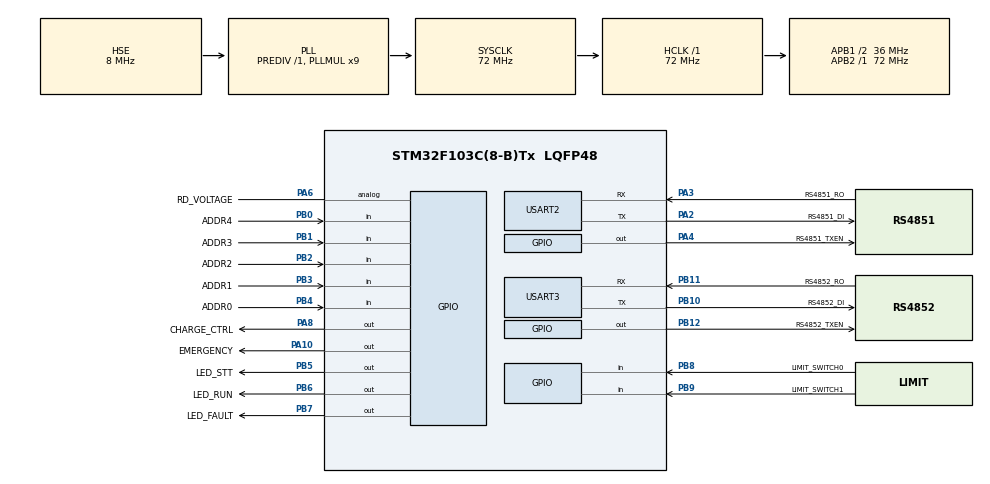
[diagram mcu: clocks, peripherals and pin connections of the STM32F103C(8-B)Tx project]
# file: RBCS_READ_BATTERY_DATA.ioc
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Dma.Request0=USART2_RX
Dma.Request1=USART3_RX
Dma.Request2=USART2_TX
Dma.Request3=USART3_TX
Dma.USART2_RX.0.Direction=DMA_PERIPH_TO_MEMORY
Dma.USART2_RX.0.Instance=DMA1_Channel6
Dma.USART2_RX.0.MemDataAlignment=DMA_MDATAALIGN_BYTE
Dma.USART2_RX.0.MemInc=DMA_MINC_ENABLE
Dma.USART2_RX.0.Mode=DMA_NORMAL
Dma.USART2_RX.0.PeriphDataAlignment=DMA_PDATAALIGN_BYTE
Dma.USART2_RX.0.PeriphInc=DMA_PINC_DISABLE
Dma.USART2_RX.0.Priority=DMA_PRIORITY_LOW
Dma.USART2_TX.2.Direction=DMA_MEMORY_TO_PERIPH
Dma.USART2_TX.2.Instance=DMA1_Channel7
Dma.USART2_TX.2.MemDataAlignment=DMA_MDATAALIGN_BYTE
Dma.USART2_TX.2.MemInc=DMA_MINC_ENABLE
Dma.USART2_TX.2.Mode=DMA_NORMAL
Dma.USART2_TX.2.PeriphDataAlignment=DMA_PDATAALIGN_BYTE
Dma.USART2_TX.2.PeriphInc=DMA_PINC_DISABLE
Dma.USART2_TX.2.Priority=DMA_PRIORITY_LOW
Dma.USART3_RX.1.Direction=DMA_PERIPH_TO_MEMORY
Dma.USART3_RX.1.Instance=DMA1_Channel3
Dma.USART3_RX.1.MemDataAlignment=DMA_MDATAALIGN_BYTE
Dma.USART3_RX.1.MemInc=DMA_MINC_ENABLE
Dma.USART3_RX.1.Mode=DMA_NORMAL
Dma.USART3_RX.1.PeriphDataAlignment=DMA_PDATAALIGN_BYTE
Dma.USART3_RX.1.PeriphInc=DMA_PINC_DISABLE
Dma.USART3_RX.1.Priority=DMA_PRIORITY_LOW
Dma.USART3_TX.3.Direction=DMA_MEMORY_TO_PERIPH
Dma.USART3_TX.3.Instance=DMA1_Channel2
Dma.USART3_TX.3.MemDataAlignment=DMA_MDATAALIGN_BYTE
Dma.USART3_TX.3.MemInc=DMA_MINC_ENABLE
Dma.USART3_TX.3.Mode=DMA_NORMAL
Dma.USART3_TX.3.PeriphDataAlignment=DMA_PDATAALIGN_BYTE
Dma.USART3_TX.3.PeriphInc=DMA_PINC_DISABLE
Dma.USART3_TX.3.Priority=DMA_PRIORITY_LOW
FREERTOS.BinarySemaphores01=binsemaModbusMaster,Dynamic,NULL,Available;binsemaModbusSlave,Dynamic,NULL,Available
FREERTOS.Tasks01=defaultTask,24,128,StartDefaultTask,Default,NULL,Dynamic,NULL,NULL;readBatteryTask,8,128,StartReadBatteryTask,Default,NULL,Dynamic,NULL,NULL;commTask,8,128,StartCommTask,Default,NULL,Dynamic,NULL,NULL
FREERTOS.configTOTAL_HEAP_SIZE=6144
FREERTOS.configUSE_NEWLIB_REENTRANT=1
Mcu.Family=STM32F1
Mcu.Name=STM32F103C(8-B)Tx
Mcu.Package=LQFP48
NVIC.DMA1_Channel2_IRQn=true\:5\:0\:false\:false\:true\:true\:false\:true\:true
NVIC.DMA1_Channel3_IRQn=true\:5\:0\:false\:false\:true\:true\:false\:true\:true
NVIC.DMA1_Channel6_IRQn=true\:5\:0\:false\:false\:true\:true\:false\:true\:true
NVIC.DMA1_Channel7_IRQn=true\:5\:0\:false\:false\:true\:true\:false\:true\:true
NVIC.PriorityGroup=NVIC_PRIORITYGROUP_4
NVIC.TIM1_UP_IRQn=true\:15\:0\:false\:false\:true\:false\:false\:true\:true
NVIC.TIM2_IRQn=true\:5\:0\:false\:false\:true\:true\:true\:true\:true
NVIC.TimeBase=TIM1_UP_IRQn
NVIC.TimeBaseIP=TIM1
NVIC.USART2_IRQn=true\:5\:0\:false\:false\:true\:true\:true\:true\:true
NVIC.USART3_IRQn=true\:5\:0\:false\:false\:true\:true\:true\:true\:true
PA10.GPIO_Label=EMERGENCY
PA10.GPIO_PuPd=GPIO_PULLUP
PA10.Signal=GPIO_Output
PA13.Mode=Serial_Wire
PA13.Signal=SYS_JTMS-SWDIO
PA14.Mode=Serial_Wire
PA14.Signal=SYS_JTCK-SWCLK
PA2.GPIO_Label=RS4851_DI
PA2.Mode=Asynchronous
PA2.Signal=USART2_TX
PA3.GPIO_Label=RS4851_RO
PA3.Mode=Asynchronous
PA3.Signal=USART2_RX
PA4.GPIO_Label=RS4851_TXEN
PA4.GPIO_PuPd=GPIO_PULLUP
PA4.Signal=GPIO_Output
PA6.GPIO_Label=RD_VOLTAGE
PA6.Signal=GPIO_Analog
PA8.GPIO_Label=CHARGE_CTRL
PA8.GPIO_PuPd=GPIO_PULLUP
PA8.Signal=GPIO_Output
PB0.GPIO_Label=ADDR4
PB0.GPIO_PuPd=GPIO_PULLUP
PB0.Signal=GPIO_Input
PB1.GPIO_Label=ADDR3
PB1.GPIO_PuPd=GPIO_PULLUP
PB1.Signal=GPIO_Input
PB10.GPIO_Label=RS4852_DI
PB10.Mode=Asynchronous
PB10.Signal=USART3_TX
PB11.GPIO_Label=RS4852_RO
PB11.Mode=Asynchronous
PB11.Signal=USART3_RX
PB12.GPIO_Label=RS4852_TXEN
PB12.GPIO_PuPd=GPIO_PULLUP
PB12.Signal=GPIO_Output
PB2.GPIO_Label=ADDR2
PB2.GPIO_PuPd=GPIO_PULLUP
PB2.Signal=GPIO_Input
PB3.GPIO_Label=ADDR1
PB3.GPIO_PuPd=GPIO_PULLUP
PB3.Signal=GPIO_Input
PB4.GPIO_Label=ADDR0
PB4.GPIO_PuPd=GPIO_PULLUP
PB4.Signal=GPIO_Input
PB5.GPIO_Label=LED_STT
PB5.GPIO_ModeDefaultOutputPP=GPIO_MODE_OUTPUT_PP
PB5.GPIO_PuPd=GPIO_PULLUP
PB5.Signal=GPIO_Output
PB6.GPIO_Label=LED_RUN
PB6.GPIO_PuPd=GPIO_PULLUP
PB6.Signal=GPIO_Output
PB7.GPIO_Label=LED_FAULT
PB7.GPIO_PuPd=GPIO_PULLUP
PB7.Signal=GPIO_Output
PB8.GPIO_Label=LIMIT_SWITCH0
PB8.GPIO_PuPd=GPIO_PULLUP
PB8.Signal=GPIO_Input
PB9.GPIO_Label=LIMIT_SWITCH1
PB9.GPIO_PuPd=GPIO_PULLUP
PB9.Signal=GPIO_Input
PD0-OSC_IN.Mode=HSE-External-Oscillator
PD0-OSC_IN.Signal=RCC_OSC_IN
PD1-OSC_OUT.Mode=HSE-External-Oscillator
PD1-OSC_OUT.Signal=RCC_OSC_OUT
ProjectManager.HeapSize=0x200
ProjectManager.StackSize=0x400
ProjectManager.TargetToolchain=STM32CubeIDE
RCC.AHBFreq_Value=72000000
RCC.APB1CLKDivider=RCC_HCLK_DIV2
RCC.APB1Freq_Value=36000000
RCC.APB1TimFreq_Value=72000000
RCC.APB2Freq_Value=72000000
RCC.APB2TimFreq_Value=72000000
RCC.HCLKFreq_Value=72000000
RCC.PLLMUL=RCC_PLL_MUL9
RCC.PLLSourceVirtual=RCC_PLLSOURCE_HSE
RCC.SYSCLKFreq_VALUE=72000000
RCC.SYSCLKSource=RCC_SYSCLKSOURCE_PLLCLK
RCC.USBFreq_Value=72000000
TIM2.Period=10-1
TIM2.Prescaler=7200-1
USART2.VirtualMode=VM_ASYNC
USART3.VirtualMode=VM_ASYNC
VP_FREERTOS_VS_CMSIS_V2.Mode=CMSIS_V2
VP_SYS_VS_tim1.Mode=TIM1
VP_TIM2_VS_ClockSourceINT.Mode=Internal
board=custom

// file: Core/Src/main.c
/* USER CODE BEGIN Header */
/**
  ******************************************************************************
  * @file           : main.c
  * @brief          : Main program body
  ******************************************************************************
  * @attention
  *
  * Copyright (c) 2025 STMicroelectronics.
  * All rights reserved.
  *
  * This software is licensed under terms that can be found in the LICENSE file
  * in the root directory of this software component.
  * If no LICENSE file comes with this software, it is provided AS-IS.
  *
  ******************************************************************************
  */
/* USER CODE END Header */
#include "main.h"
#include "cmsis_os.h"
#include "dma.h"
#include "tim.h"
#include "usart.h"
#include "gpio.h"

/* USER CODE BEGIN Includes */
#include "app_states.h"
/* USER CODE END Includes */

/* USER CODE BEGIN PV */
extern DeviceHSM_t device;
/* USER CODE END PV */

void SystemClock_Config(void);
void MX_FREERTOS_Init(void);

/* USER CODE BEGIN 0 */
//static void DWT_Init(void)
//{
//    CoreDebug->DEMCR |= CoreDebug_DEMCR_TRCENA_Msk;
//    DWT->CYCCNT = 0;
//    DWT->CTRL |= DWT_CTRL_CYCCNTENA_Msk;
//}
/* USER CODE END 0 */

int main(void)
{

  /* MCU Configuration--------------------------------------------------------*/

  /* Reset of all peripherals, Initializes the Flash interface and the Systick. */
  HAL_Init();

  /* USER CODE BEGIN Init */
//  DWT_Init();
  /* USER CODE END Init */

  /* Configure the system clock */
  SystemClock_Config();

  /* Initialize all configured peripherals */
  MX_GPIO_Init();
  MX_DMA_Init();
  MX_USART2_UART_Init();
  MX_USART3_UART_Init();
  MX_TIM2_Init();

  /* Init scheduler */
  osKernelInitialize();  /* Call init function for freertos objects (in cmsis_os2.c) */
  MX_FREERTOS_Init();

  /* Start scheduler */
  osKernelStart();

  /* We should never get here as control is now taken by the scheduler */

  /* Infinite loop */
  while (1)
  {

  }
}

void SystemClock_Config(void)
{
  RCC_OscInitTypeDef RCC_OscInitStruct = {0};
  RCC_ClkInitTypeDef RCC_ClkInitStruct = {0};

  /** Initializes the RCC Oscillators according to the specified parameters
  * in the RCC_OscInitTypeDef structure.
  */
  RCC_OscInitStruct.OscillatorType = RCC_OSCILLATORTYPE_HSE;
  RCC_OscInitStruct.HSEState = RCC_HSE_ON;
  RCC_OscInitStruct.HSEPredivValue = RCC_HSE_PREDIV_DIV1;
  RCC_OscInitStruct.HSIState = RCC_HSI_ON;
  RCC_OscInitStruct.PLL.PLLState = RCC_PLL_ON;
  RCC_OscInitStruct.PLL.PLLSource = RCC_PLLSOURCE_HSE;
  RCC_OscInitStruct.PLL.PLLMUL = RCC_PLL_MUL9;
  if (HAL_RCC_OscConfig(&RCC_OscInitStruct) != HAL_OK)
  {
    Error_Handler();
  }

  /** Initializes the CPU, AHB and APB buses clocks
  */
  RCC_ClkInitStruct.ClockType = RCC_CLOCKTYPE_HCLK|RCC_CLOCKTYPE_SYSCLK
                              |RCC_CLOCKTYPE_PCLK1|RCC_CLOCKTYPE_PCLK2;
  RCC_ClkInitStruct.SYSCLKSource = RCC_SYSCLKSOURCE_PLLCLK;
  RCC_ClkInitStruct.AHBCLKDivider = RCC_SYSCLK_DIV1;
  RCC_ClkInitStruct.APB1CLKDivider = RCC_HCLK_DIV2;
  RCC_ClkInitStruct.APB2CLKDivider = RCC_HCLK_DIV1;

  if (HAL_RCC_ClockConfig(&RCC_ClkInitStruct, FLASH_LATENCY_2) != HAL_OK)
  {
    Error_Handler();
  }
}

void HAL_TIM_PeriodElapsedCallback(TIM_HandleTypeDef *htim)
{
  if (htim->Instance == TIM1)
  {
    HAL_IncTick();
  }
  /* USER CODE BEGIN Callback 1 */
  if (htim->Instance == HSM_TIM) {
	  HSM_TIM_IRQHandler();
  }
  /* USER CODE END Callback 1 */
}

void Error_Handler(void)
{
  __disable_irq();
  while (1)
  {
  }
}

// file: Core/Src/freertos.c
/* USER CODE BEGIN Header */
/**
  ******************************************************************************
  * File Name          : freertos.c
  * Description        : Code for freertos applications
  ******************************************************************************
  * @attention
  *
  * Copyright (c) 2025 STMicroelectronics.
  * All rights reserved.
  *
  * This software is licensed under terms that can be found in the LICENSE file
  * in the root directory of this software component.
  * If no LICENSE file comes with this software, it is provided AS-IS.
  *
  ******************************************************************************
  */
/* USER CODE END Header */

#include "FreeRTOS.h"
#include "task.h"
#include "main.h"
#include "cmsis_os.h"

/* USER CODE BEGIN Includes */
#include "usart.h"
#include "semphr.h"
#include "app_states.h"
/* USER CODE END Includes */

/* USER CODE BEGIN Variables */
DeviceHSM_t device;

/* USER CODE END Variables */
/* Definitions for defaultTask */
osThreadId_t defaultTaskHandle;
const osThreadAttr_t defaultTask_attributes = {
  .name = "defaultTask",
  .stack_size = 128 * 4,
  .priority = (osPriority_t) osPriorityNormal,
};
/* Definitions for readBatteryTask */
osThreadId_t readBatteryTaskHandle;
const osThreadAttr_t readBatteryTask_attributes = {
  .name = "readBatteryTask",
  .stack_size = 128 * 4,
  .priority = (osPriority_t) osPriorityLow,
};
/* Definitions for commTask */
osThreadId_t commTaskHandle;
const osThreadAttr_t commTask_attributes = {
  .name = "commTask",
  .stack_size = 128 * 4,
  .priority = (osPriority_t) osPriorityLow,
};
/* Definitions for binsemaModbusMaster */
osSemaphoreId_t binsemaModbusMasterHandle;
const osSemaphoreAttr_t binsemaModbusMaster_attributes = {
  .name = "binsemaModbusMaster"
};
/* Definitions for binsemaModbusSlave */
osSemaphoreId_t binsemaModbusSlaveHandle;
const osSemaphoreAttr_t binsemaModbusSlave_attributes = {
  .name = "binsemaModbusSlave"
};

/* USER CODE BEGIN FunctionPrototypes */
uint8_t ReadModbusAddress(void)
{
    uint8_t addr = 0;

    if (!HAL_GPIO_ReadPin(ADDR4_GPIO_Port, ADDR4_Pin)) addr |= (1<<0);
    if (!HAL_GPIO_ReadPin(ADDR3_GPIO_Port, ADDR3_Pin)) addr |= (1<<1);
    if (!HAL_GPIO_ReadPin(ADDR2_GPIO_Port, ADDR2_Pin)) addr |= (1<<2);
    if (!HAL_GPIO_ReadPin(ADDR1_GPIO_Port, ADDR1_Pin)) addr |= (1<<3);
    if (!HAL_GPIO_ReadPin(ADDR0_GPIO_Port, ADDR0_Pin)) addr |= (1<<4);

    return (addr == 0) ? 1 : addr;  // Nếu = 0 thì dùng địa chỉ 1
}
/* USER CODE END FunctionPrototypes */

void StartDefaultTask(void *argument);
void StartReadBatteryTask(void *argument);
void StartCommTask(void *argument);

void MX_FREERTOS_Init(void); /* (MISRA C 2004 rule 8.1) */

void MX_FREERTOS_Init(void) {

  /* Create the semaphores(s) */
  /* creation of binsemaModbusMaster */
  binsemaModbusMasterHandle = osSemaphoreNew(1, 1, &binsemaModbusMaster_attributes);

  /* creation of binsemaModbusSlave */
  binsemaModbusSlaveHandle = osSemaphoreNew(1, 1, &binsemaModbusSlave_attributes);

  /* Create the thread(s) */
  /* creation of defaultTask */
  defaultTaskHandle = osThreadNew(StartDefaultTask, NULL, &defaultTask_attributes);

  /* creation of readBatteryTask */
  readBatteryTaskHandle = osThreadNew(StartReadBatteryTask, NULL, &readBatteryTask_attributes);

  /* creation of commTask */
  commTaskHandle = osThreadNew(StartCommTask, NULL, &commTask_attributes);

}

void StartDefaultTask(void *argument)
{
  /* USER CODE BEGIN StartDefaultTask */
  /* Infinite loop */
	/* Master initialization */
	osSemaphoreAcquire(binsemaModbusMasterHandle, 0);
	osSemaphoreAcquire(binsemaModbusSlaveHandle, 0);

	device.modbus_address = ReadModbusAddress();
	hsmTimerInit();
	default_parameter_init(&device);
	app_states_hsm_init(&device);
	if(!device.modbus_address) {
		uint8_t old_modbus_address = device.modbus_address;
		while(1) {
			device.modbus_address = ReadModbusAddress();
			if(device.modbus_address == 0) {
				HSM_Run((HSM *)&device, HSME_SET_INVALID_BAUD, 0);
			} else {
				if(device.modbus_address != old_modbus_address) {
					old_modbus_address = device.modbus_address;
					HSM_Run((HSM *)&device, HSME_SET_BAUD_CHANGE_VALUE, 0);
				}
			}
			osDelay(10);
		}
	} else {

		/* Master initialization */
		device.handlerModbusMaster.uModbusType = MB_MASTER;
		device.handlerModbusMaster.port =  &MB_BAT_UART;
		device.handlerModbusMaster.u8id = 0; // For master it must be 0
		device.handlerModbusMaster.u16timeOut = 1000;
		device.handlerModbusMaster.EN_Port = MB_BAT_PORT;
		device.handlerModbusMaster.EN_Pin = MB_BAT_PIN;
		device.handlerModbusMaster.u16regs = device.dataModbusMaster;
		device.handlerModbusMaster.u16regsize= sizeof(device.dataModbusMaster)/sizeof(device.dataModbusMaster[0]);
		device.handlerModbusMaster.xTypeHW = USART_HW_DMA;

		/* Slave initialization */
		UART_ReconfigureByCode(&MB_COM_UART, device.storage.baudrate);
		device.handlerModbusSlave.uModbusType = MB_SLAVE;
		device.handlerModbusSlave.port =  &MB_COM_UART;
		device.handlerModbusSlave.u8id = device.modbus_address;
		device.handlerModbusSlave.u16timeOut = 1000;
		device.handlerModbusSlave.EN_Port = MB_COM_PORT;
		device.handlerModbusSlave.EN_Pin = MB_COM_PIN;
		device.handlerModbusSlave.u16regs = device.dataModbusSlave;
		device.handlerModbusSlave.u16regsize= sizeof(device.dataModbusSlave)/sizeof(device.dataModbusSlave[0]);

		//Initialize Modbus library
		device.handlerModbusSlave.xTypeHW = USART_HW_DMA;

		ModbusInit(&device.handlerModbusMaster);
		ModbusStart(&device.handlerModbusMaster);

		ModbusInit(&device.handlerModbusSlave);
		ModbusStart(&device.handlerModbusSlave);

		osSemaphoreRelease(binsemaModbusMasterHandle);
		osSemaphoreRelease(binsemaModbusSlaveHandle);
	}

  for(;;)
  {
	  // Check Limit Switch
	  if (HAL_GPIO_ReadPin(LIMIT_SWITCH0_GPIO_Port, LIMIT_SWITCH0_Pin) == (GPIO_PinState)LS_ACTIVE
			  || HAL_GPIO_ReadPin(LIMIT_SWITCH1_GPIO_Port, LIMIT_SWITCH1_Pin) == (GPIO_PinState)LS_ACTIVE ) {

		  HSM_Run((HSM *)&device, HSME_SWITCH_LIMIT_ACTIVE, 0);
	  } else {
		  device.dataModbusSlave[REG_STA_IS_PIN_IN_SLOT] = SLOT_EMPTY;
		  HSM_Run((HSM *)&device, HSME_SWITCH_LIMIT_PASSTIVE, 0);
	  }
	  osDelay(10);
  }
  /* USER CODE END StartDefaultTask */
}

void StartReadBatteryTask(void *argument)
{
  /* USER CODE BEGIN StartReadBatteryTask */
  /* Infinite loop */
  uint32_t u32NotificationValue;
  static uint16_t timeout_count = 0;
  osSemaphoreAcquire(binsemaModbusMasterHandle, osWaitForever);

  device.telegramMaster[TELE_MASTER_READ_FULL_BAT_DATA].u8id = 0x10; // slave address
  device.telegramMaster[TELE_MASTER_READ_FULL_BAT_DATA].u8fct = 0x03; // function code (this one is registers read)
  device.telegramMaster[TELE_MASTER_READ_FULL_BAT_DATA].u16RegAdd = 0x00; // start address in slave
  device.telegramMaster[TELE_MASTER_READ_FULL_BAT_DATA].u16CoilsNo = TOTAL_BAT_REGISTERS; // number of elements (coils or registers) to read
  device.telegramMaster[TELE_MASTER_READ_FULL_BAT_DATA].u16reg = device.dataModbusMaster; // pointer to a memory array
  for(;;)
  {
	if(device.dataModbusSlave[REG_STA_IS_PIN_IN_SLOT] == SLOT_FULL) {
		ModbusQuery(&device.handlerModbusMaster, device.telegramMaster[TELE_MASTER_READ_FULL_BAT_DATA]);
		u32NotificationValue = ulTaskNotifyTake(pdTRUE, portMAX_DELAY);
		if(u32NotificationValue != OP_OK_QUERY) {
			timeout_count = 0;
			HSM_Run((HSM *)&device, HSME_BAT_RECEIVED_OK, 0);
		} else {
			if(++timeout_count >= 5) {
				timeout_count = 5;
				HSM_Run((HSM *)&device, HSME_BAT_RECEIVED_TIMEOUT, 0);
			}
		}
	}

    osDelay(100);
  }
  /* USER CODE END StartReadBatteryTask */
}

void StartCommTask(void *argument)
{
  /* USER CODE BEGIN StartCommTask */
  /* Infinite loop */
  osSemaphoreAcquire(binsemaModbusSlaveHandle, osWaitForever);
  for(;;)
  {
	xSemaphoreTake(device.handlerModbusSlave.ModBusSphrHandle , portMAX_DELAY);
	xSemaphoreGive(device.handlerModbusSlave.ModBusSphrHandle);
	osDelay(100);
  }
  /* USER CODE END StartCommTask */
}

/* USER CODE BEGIN Application */
void ModbusSlave_TxCompleteCallback(modbusHandler_t *modH)
{
	if(modH == &device.handlerModbusSlave) {
    HSM_Run((HSM *)&device, HSME_COMM_RECEIVED_OK, 0);
	}
}
/* USER CODE END Application */
